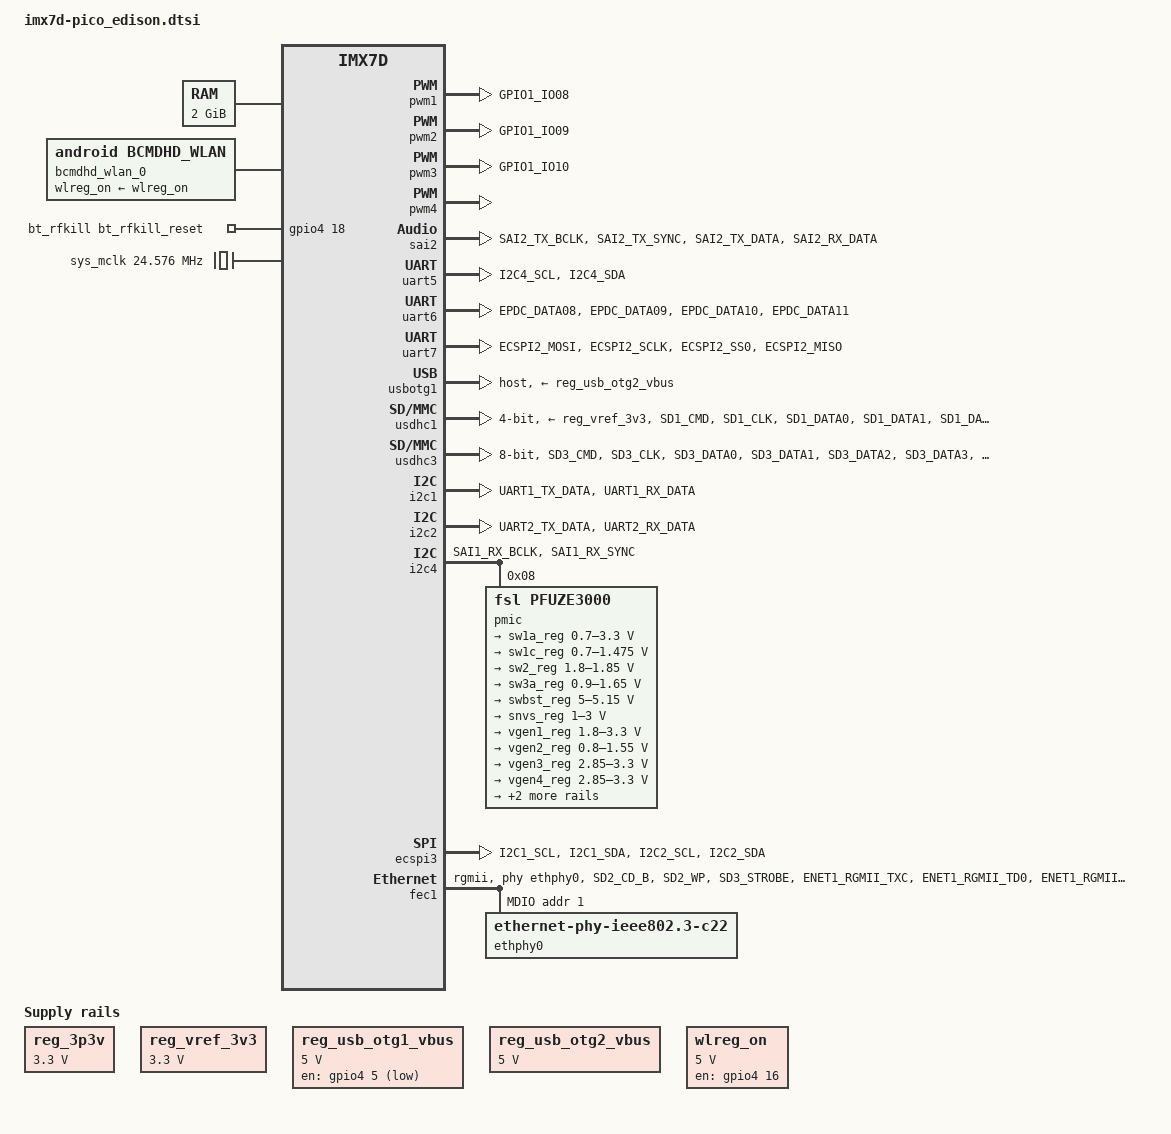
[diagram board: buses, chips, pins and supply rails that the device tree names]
/*
 * Copyright 2016 Technexion Ltd.
 *
 * Author: Alvin Chen <alvin.chen@technexion.com>
 *
 * This program is free software; you can redistribute it and/or modify
 * it under the terms of the GNU General Public License version 2 as
 * published by the Free Software Foundation.
 *
 */

#include <dt-bindings/input/input.h>
#include <dt-bindings/gpio/gpio.h>

/* GPIOs on PICO connector */
#define GPIO_P24 gpio2 0
#define GPIO_P25 gpio2 6
#define GPIO_P26 gpio2 1
#define GPIO_P28 gpio2 2
#define GPIO_P30 gpio2 3
#define GPIO_P48 gpio2 7

#define PCA9535_INTERRUPT &pinctrl_pca9535_interrupt 
#define PICO_EXT_GPIO_IOMUX_EDISON &pinctrl_ext_gpio_edison

/* bus definitions */
#define I2C1 i2c1
#define I2C2 i2c2
#define I2C3 i2c4
#define ECSPI ecspi3

#define PCA9535_INT_GPIO gpio2 12

/ {
	memory {
		reg = <0x80000000 0x80000000>;
	};

	bcmdhd_wlan_0: bcmdhd_wlan@0 {
		compatible = "android,bcmdhd_wlan";
		pinctrl-names = "default";
		pinctrl-0 = <&pinctrl_wifi_ctrl>;
		status = "okay";
		wlreg_on-supply = <&wlreg_on>;
	};

	bt_rfkill {
		compatible = "net,rfkill-bcm43xx";
		pinctrl-names = "default";
		pinctrl-0 = <&pinctrl_bt_ctrl>;
		name = "bt_rfkill";
		type = <2>;     /* bluetooth */
		bt_rfkill_reset-gpios = <&gpio4 18 0>;
	};

	regulators {
		compatible = "simple-bus";
		#address-cells = <1>;
		#size-cells = <0>;

		reg_3p3v: 3p3v {
			compatible = "regulator-fixed";
			regulator-name = "3P3V";
			regulator-min-microvolt = <3300000>;
			regulator-max-microvolt = <3300000>;
			regulator-always-on;
		};

		reg_vref_3v3: regulator@6 {
			compatible = "regulator-fixed";
			regulator-name = "vref-3v3";
			regulator-min-microvolt = <3300000>;
			regulator-max-microvolt = <3300000>;
		};

		reg_usb_otg1_vbus: regulator@0 {
			compatible = "regulator-fixed";
			regulator-name = "usb_otg1_vbus";
			regulator-min-microvolt = <5000000>;
			regulator-max-microvolt = <5000000>;
			gpio = <&gpio4 5 1>;
			enable-active-low;
		};

		reg_usb_otg2_vbus: regulator@1 {
			compatible = "regulator-fixed";
			reg = <1>;
			regulator-name = "usb_otg2_vbus";
			regulator-min-microvolt = <5000000>;
			regulator-max-microvolt = <5000000>;
		};

		wlreg_on: fixedregulator@100 {
			compatible = "regulator-fixed";
			regulator-min-microvolt = <5000000>;
			regulator-max-microvolt = <5000000>;
			regulator-name = "wlreg_on";
			gpio = <&gpio4 16 GPIO_ACTIVE_HIGH>;
			enable-active-high;
		};
	};

	clocks {
		sys_mclk: clock {
			compatible = "fixed-clock";
			#clock-cells = <0>;
			clock-frequency = <24576000>;
		};
	};
};

&iomuxc {
	pinctrl-names = "default";
	pinctrl-0 = <&pinctrl_usbotg1_pwr>;
	imx7d-pico {
		pinctrl_ecspi3: ecspi3grp {
			fsl,pins = <
				MX7D_PAD_I2C1_SCL__ECSPI3_MISO	0x2
				MX7D_PAD_I2C1_SDA__ECSPI3_MOSI	0x2
				MX7D_PAD_I2C2_SCL__ECSPI3_SCLK	0x2
			>;
		};

		pinctrl_ecspi3_cs: ecspi3_cs_grp {
			fsl,pins = <
				MX7D_PAD_I2C2_SDA__GPIO4_IO11	0x80000000
			>;
		};

		pinctrl_enet1: enet1grp { /* REF CLK is set under LPSR pins */
			fsl,pins = <
				MX7D_PAD_SD2_CD_B__ENET1_MDIO			0x3
				MX7D_PAD_SD2_WP__ENET1_MDC			0x3
				MX7D_PAD_SD3_STROBE__GPIO6_IO10                 0x3  /* MDIO interrupt*/

				MX7D_PAD_ENET1_RGMII_TXC__ENET1_RGMII_TXC	0x1
				MX7D_PAD_ENET1_RGMII_TD0__ENET1_RGMII_TD0	0x1
				MX7D_PAD_ENET1_RGMII_TD1__ENET1_RGMII_TD1	0x1
				MX7D_PAD_ENET1_RGMII_TD2__ENET1_RGMII_TD2	0x1
				MX7D_PAD_ENET1_RGMII_TD3__ENET1_RGMII_TD3	0x1
				MX7D_PAD_ENET1_RGMII_TX_CTL__ENET1_RGMII_TX_CTL	0x1
				MX7D_PAD_ENET1_RGMII_RXC__ENET1_RGMII_RXC	0x1
				MX7D_PAD_ENET1_RGMII_RD0__ENET1_RGMII_RD0	0x1
				MX7D_PAD_ENET1_RGMII_RD1__ENET1_RGMII_RD1	0x1
				MX7D_PAD_ENET1_RGMII_RD2__ENET1_RGMII_RD2	0x1
				MX7D_PAD_ENET1_RGMII_RD3__ENET1_RGMII_RD3	0x1
				MX7D_PAD_ENET1_RGMII_RX_CTL__ENET1_RGMII_RX_CTL	0x1
				MX7D_PAD_SD3_RESET_B__GPIO6_IO11                0x1  /* Ethernet reset */
			>;
		};

		pinctrl_i2c1: i2c1grp {
			fsl,pins = <
				MX7D_PAD_UART1_TX_DATA__I2C1_SDA	0x4000007f
				MX7D_PAD_UART1_RX_DATA__I2C1_SCL	0x4000007f
			>;
		};

		pinctrl_i2c2: i2c2grp {
			fsl,pins = <
				MX7D_PAD_UART2_TX_DATA__I2C2_SDA	0x4000007f
				MX7D_PAD_UART2_RX_DATA__I2C2_SCL	0x4000007f
			>;
		};

		pinctrl_i2c4: i2c4grp {
			fsl,pins = <
				MX7D_PAD_SAI1_RX_BCLK__I2C4_SDA		0x4000007f
				MX7D_PAD_SAI1_RX_SYNC__I2C4_SCL		0x4000007f
			>;
		};

		pinctrl_lcdif_dat: lcdifdatgrp {
			fsl,pins = <
				MX7D_PAD_LCD_DATA00__LCD_DATA0	0x79
				MX7D_PAD_LCD_DATA01__LCD_DATA1	0x79
				MX7D_PAD_LCD_DATA02__LCD_DATA2	0x79
				MX7D_PAD_LCD_DATA03__LCD_DATA3	0x79
				MX7D_PAD_LCD_DATA04__LCD_DATA4	0x79
				MX7D_PAD_LCD_DATA05__LCD_DATA5	0x79
				MX7D_PAD_LCD_DATA06__LCD_DATA6	0x79
				MX7D_PAD_LCD_DATA07__LCD_DATA7	0x79
				MX7D_PAD_LCD_DATA08__LCD_DATA8	0x79
				MX7D_PAD_LCD_DATA09__LCD_DATA9	0x79
				MX7D_PAD_LCD_DATA10__LCD_DATA10	0x79
				MX7D_PAD_LCD_DATA11__LCD_DATA11	0x79
				MX7D_PAD_LCD_DATA12__LCD_DATA12	0x79
				MX7D_PAD_LCD_DATA13__LCD_DATA13	0x79
				MX7D_PAD_LCD_DATA14__LCD_DATA14	0x79
				MX7D_PAD_LCD_DATA15__LCD_DATA15	0x79
				MX7D_PAD_LCD_DATA16__LCD_DATA16	0x79
				MX7D_PAD_LCD_DATA17__LCD_DATA17	0x79
				MX7D_PAD_LCD_DATA18__LCD_DATA18	0x79
				MX7D_PAD_LCD_DATA19__LCD_DATA19	0x79
				MX7D_PAD_LCD_DATA20__LCD_DATA20	0x79
				MX7D_PAD_LCD_DATA21__LCD_DATA21	0x79
				MX7D_PAD_LCD_DATA22__LCD_DATA22	0x79
				MX7D_PAD_LCD_DATA23__LCD_DATA23	0x79
			>;
		};

		pinctrl_lcdif_ctrl: lcdifctrlgrp {
			fsl,pins = <
				MX7D_PAD_LCD_CLK__LCD_CLK	0x79
				MX7D_PAD_LCD_ENABLE__LCD_ENABLE	0x79
				MX7D_PAD_LCD_VSYNC__LCD_VSYNC	0x79
				MX7D_PAD_LCD_HSYNC__LCD_HSYNC	0x79
				MX7D_PAD_LCD_RESET__GPIO3_IO4	0x14
				//MX7D_PAD_LCD_RESET__LCD_RESET	0x79
			>;
		};

		pinctrl_sai1: sai1grp {
			fsl,pins = <
				MX7D_PAD_ENET1_RX_CLK__SAI1_TX_BCLK   0x1f
				MX7D_PAD_ENET1_CRS__SAI1_TX_SYNC   0x1f
				MX7D_PAD_ENET1_COL__SAI1_TX_DATA0   0x30
				MX7D_PAD_ENET1_TX_CLK__SAI1_RX_DATA0   0x1f
			>;
		};

		pinctrl_sai2: sai2grp {
			fsl,pins = <
				MX7D_PAD_SAI2_TX_BCLK__SAI2_TX_BCLK   0x1f
				MX7D_PAD_SAI2_TX_SYNC__SAI2_TX_SYNC   0x1f
				MX7D_PAD_SAI2_TX_DATA__SAI2_TX_DATA0   0x30
				MX7D_PAD_SAI2_RX_DATA__SAI2_RX_DATA0   0x1f
			>;
		};

		pinctrl_uart5: uart5grp {
			fsl,pins = <
				MX7D_PAD_I2C4_SCL__UART5_DCE_RX 0x79
				MX7D_PAD_I2C4_SDA__UART5_DCE_TX 0x79
			>;
		};

		pinctrl_uart6: uart6grp {
			fsl,pins = <
				MX7D_PAD_EPDC_DATA08__UART6_DCE_RX  0x79
				MX7D_PAD_EPDC_DATA09__UART6_DCE_TX  0x79
				MX7D_PAD_EPDC_DATA10__UART6_DCE_RTS 0x79
				MX7D_PAD_EPDC_DATA11__UART6_DCE_CTS 0x79
			>;
		};

		pinctrl_uart7: uart7grp {
			fsl,pins = <
				MX7D_PAD_ECSPI2_MOSI__UART7_DCE_TX  0x79
				MX7D_PAD_ECSPI2_SCLK__UART7_DCE_RX  0x79
				MX7D_PAD_ECSPI2_SS0__UART7_DCE_CTS 0x79
				MX7D_PAD_ECSPI2_MISO__UART7_DCE_RTS 0x79
			>;
		};

		pinctrl_usbotg1_pwr: usbotg_pwr {
			fsl,pins = <
				MX7D_PAD_UART3_TX_DATA__GPIO4_IO5	0x14
			>;
		};

		pinctrl_can_1: can-1 {
			fsl,pins = <
				MX7D_PAD_SAI1_RX_DATA__FLEXCAN1_RX	0x59
				MX7D_PAD_SAI1_TX_BCLK__FLEXCAN1_TX	0x59f
			>;
		};

		pinctrl_can_2: can-2 {
			fsl,pins = <
				MX7D_PAD_SAI1_TX_SYNC__FLEXCAN2_RX	0x59
				MX7D_PAD_SAI1_TX_DATA__FLEXCAN2_TX	0x59
			>;
		};

		pinctrl_usdhc1: usdhc1grp {
			fsl,pins = <
				MX7D_PAD_SD1_CMD__SD1_CMD		0x59
				MX7D_PAD_SD1_CLK__SD1_CLK		0x19
				MX7D_PAD_SD1_DATA0__SD1_DATA0		0x59
				MX7D_PAD_SD1_DATA1__SD1_DATA1		0x59
				MX7D_PAD_SD1_DATA2__SD1_DATA2		0x59
				MX7D_PAD_SD1_DATA3__SD1_DATA3		0x59
				MX7D_PAD_SD1_CD_B__GPIO5_IO0		0x15 /* baseboard sd cd pin */
			>;
		};

		pinctrl_usdhc1_100mhz: usdhc1grp_100mhz {
			fsl,pins = <
				MX7D_PAD_SD1_CMD__SD1_CMD		0x5a
				MX7D_PAD_SD1_CLK__SD1_CLK		0x1a
				MX7D_PAD_SD1_DATA0__SD1_DATA0		0x5a
				MX7D_PAD_SD1_DATA1__SD1_DATA1		0x5a
				MX7D_PAD_SD1_DATA2__SD1_DATA2		0x5a
				MX7D_PAD_SD1_DATA3__SD1_DATA3		0x5a
				MX7D_PAD_SD1_CD_B__GPIO5_IO0		0x15
			>;
		};

		pinctrl_usdhc1_200mhz: usdhc1grp_200mhz {
			fsl,pins = <
				MX7D_PAD_SD1_CMD__SD1_CMD		0x5b
				MX7D_PAD_SD1_CLK__SD1_CLK		0x1b
				MX7D_PAD_SD1_DATA0__SD1_DATA0		0x5b
				MX7D_PAD_SD1_DATA1__SD1_DATA1		0x5b
				MX7D_PAD_SD1_DATA2__SD1_DATA2		0x5b
				MX7D_PAD_SD1_DATA3__SD1_DATA3		0x5b
				MX7D_PAD_SD1_CD_B__GPIO5_IO0		0x15
			>;
		};

		pinctrl_usdhc2: usdhc2grp {
			fsl,pins = <
				MX7D_PAD_SD2_CMD__SD2_CMD       0x59
				MX7D_PAD_SD2_CLK__SD2_CLK       0x19
				MX7D_PAD_SD2_DATA0__SD2_DATA0   0x59
				MX7D_PAD_SD2_DATA1__SD2_DATA1   0x59
				MX7D_PAD_SD2_DATA2__SD2_DATA2   0x59
				MX7D_PAD_SD2_DATA3__SD2_DATA3   0x59
			>;
		};

		pinctrl_usdhc2_100mhz: usdhc2grp_100mhz {
			fsl,pins = <
				MX7D_PAD_SD2_CMD__SD2_CMD       0x5a
				MX7D_PAD_SD2_CLK__SD2_CLK       0x1a
				MX7D_PAD_SD2_DATA0__SD2_DATA0   0x5a
				MX7D_PAD_SD2_DATA1__SD2_DATA1   0x5a
				MX7D_PAD_SD2_DATA2__SD2_DATA2   0x5a
				MX7D_PAD_SD2_DATA3__SD2_DATA3   0x5a
			>;
		};

		pinctrl_usdhc2_200mhz: usdhc2grp_200mhz {
			fsl,pins = <
				MX7D_PAD_SD2_CMD__SD2_CMD       0x5b
				MX7D_PAD_SD2_CLK__SD2_CLK       0x1b
				MX7D_PAD_SD2_DATA0__SD2_DATA0   0x5b
				MX7D_PAD_SD2_DATA1__SD2_DATA1   0x5b
				MX7D_PAD_SD2_DATA2__SD2_DATA2   0x5b
				MX7D_PAD_SD2_DATA3__SD2_DATA3   0x5b
			>;
		};

		pinctrl_usdhc3: usdhc3grp {
			fsl,pins = <
				MX7D_PAD_SD3_CMD__SD3_CMD		0x59
				MX7D_PAD_SD3_CLK__SD3_CLK		0x19
				MX7D_PAD_SD3_DATA0__SD3_DATA0		0x59
				MX7D_PAD_SD3_DATA1__SD3_DATA1		0x59
				MX7D_PAD_SD3_DATA2__SD3_DATA2		0x59
				MX7D_PAD_SD3_DATA3__SD3_DATA3		0x59
				MX7D_PAD_SD3_DATA4__SD3_DATA4		0x59
				MX7D_PAD_SD3_DATA5__SD3_DATA5		0x59
				MX7D_PAD_SD3_DATA6__SD3_DATA6		0x59
				MX7D_PAD_SD3_DATA7__SD3_DATA7		0x59
				MX7D_PAD_GPIO1_IO14__GPIO1_IO14		0x15 /* cpu module sd cd pin */
			>;
		};

		pinctrl_pwm1: pwm1 {
			fsl,pins = <
				MX7D_PAD_GPIO1_IO08__PWM1_OUT   0x7f
			>;
		};

		pinctrl_pwm2: pwm2 {
			fsl,pins = <
				MX7D_PAD_GPIO1_IO09__PWM2_OUT   0x7f
			>;
		};

		pinctrl_pwm3: pwm3 {
			fsl,pins = <
				MX7D_PAD_GPIO1_IO10__PWM3_OUT   0x7f
			>;
		};

		pinctrl_backlight: backlight {
			fsl,pins = <
				MX7D_PAD_GPIO1_IO11__PWM4_OUT   0x0
			>;
		};

		pinctrl_wifi_ctrl: wifi_ctrlgrp {
			fsl,pins = <
				MX7D_PAD_ECSPI1_SCLK__GPIO4_IO16       0x59 /* wifi-reg-on */
				MX7D_PAD_ECSPI1_SS0__GPIO4_IO19        0x59 /* wifi-host-wake */
			>;
		};

		pinctrl_bt_ctrl: bt_ctrlgrp {
			fsl,pins = <
				MX7D_PAD_ECSPI1_MISO__GPIO4_IO18       0x55 /* bluetooth-reg-on */
				MX7D_PAD_ECSPI1_MOSI__GPIO4_IO17       0x55 /* bluetooth-wake */
				MX7D_PAD_SD2_RESET_B__GPIO5_IO11       0x55 /* bluetooth-host-wake */
			>;
		};

		pinctrl_ext_gpio_edison: ext_gpio_edison {
			fsl,pins = <
				MX7D_PAD_EPDC_DATA00__GPIO2_IO0		0x15 /* P24 */
				MX7D_PAD_EPDC_DATA06__GPIO2_IO6		0x15 /* P25 */
				MX7D_PAD_EPDC_DATA01__GPIO2_IO1		0x15 /* P26 */
				MX7D_PAD_EPDC_DATA02__GPIO2_IO2		0x15 /* P28 */
				MX7D_PAD_EPDC_DATA03__GPIO2_IO3		0x15 /* P30 */
				MX7D_PAD_EPDC_DATA07__GPIO2_IO7		0x15 /* P48 */
			>;
		};

		pinctrl_pca9535_interrupt: pca9535_interrupt {
			fsl,pins = <
				MX7D_PAD_EPDC_DATA12__GPIO2_IO12	0x15
			>;
		};
	};
};

&pwm1 {
	pinctrl-names = "default";
	pinctrl-0 = <&pinctrl_pwm1>;
	status = "okay";
};

&pwm2 {
	pinctrl-names = "default";
	pinctrl-0 = <&pinctrl_pwm2>;
	status = "okay";
};

&pwm3 {
	pinctrl-names = "default";
	pinctrl-0 = <&pinctrl_pwm3>;
	status = "okay";
};

&pwm4 { /* Backlight */
	status = "okay";
};

&sai1 {
	pinctrl-names = "default";
	pinctrl-0 = <&pinctrl_sai1>;
	assigned-clocks = <&clks IMX7D_SAI1_ROOT_SRC>,
			  <&clks IMX7D_SAI1_ROOT_CLK>;
	assigned-clock-parents = <&clks IMX7D_PLL_AUDIO_POST_DIV>;
	assigned-clock-rates = <0>, <24576000>;
	status = "disabled";
};

&sai2 {
	pinctrl-names = "default";
	pinctrl-0 = <&pinctrl_sai2>;
	assigned-clocks = <&clks IMX7D_SAI2_ROOT_SRC>,
			  <&clks IMX7D_SAI2_ROOT_CLK>;
	assigned-clock-parents = <&clks IMX7D_PLL_AUDIO_POST_DIV>;
	assigned-clock-rates = <0>, <24576000>;
	status = "okay";
};

&sdma {
	status = "okay";
};

&uart5 {
	pinctrl-names = "default";
	pinctrl-0 = <&pinctrl_uart5>;
	assigned-clocks = <&clks IMX7D_UART5_ROOT_SRC>;
	assigned-clock-parents = <&clks IMX7D_OSC_24M_CLK>;
	status = "okay";
};

&uart6 {
	pinctrl-names = "default";
	pinctrl-0 = <&pinctrl_uart6>;
	assigned-clocks = <&clks IMX7D_UART6_ROOT_SRC>;
	assigned-clock-parents = <&clks IMX7D_OSC_24M_CLK>;
	fsl,uart-has-rtscts;
	status = "okay";
};

&uart7 { /* Bluetooth */
	pinctrl-names = "default";
	pinctrl-0 = <&pinctrl_uart7>;
	assigned-clocks = <&clks IMX7D_UART7_ROOT_SRC>;
	assigned-clock-parents = <&clks IMX7D_PLL_SYS_MAIN_240M_CLK>;
	fsl,uart-has-rtscts;
	status = "okay";
};

&usbotg1 {
	vbus-supply = <&reg_usb_otg2_vbus>;
	dr_mode = "host";
	status = "okay";
};

&usdhc1 {
	pinctrl-names = "default", "state_100mhz", "state_200mhz";
	pinctrl-0 = <&pinctrl_usdhc1>;
	pinctrl-1 = <&pinctrl_usdhc1_100mhz>;
	pinctrl-2 = <&pinctrl_usdhc1_200mhz>;
	cd-gpios = <&gpio5 0 GPIO_ACTIVE_LOW>;
	bus-width = <4>;
	tuning-step = <2>;
	vmmc-supply = <&reg_vref_3v3>;
	enable-sdio-wakeup;
	no-1-8-v;
	keep-power-in-suspend;
	status = "okay";
};

&usdhc2 {
	pinctrl-names = "default", "state_100mhz", "state_200mhz";
	pinctrl-0 = <&pinctrl_usdhc2>;
	bus-width = <4>;
	vmmc-supply = <&reg_3p3v>;
	no-1-8-v;
	keep-power-in-suspend;
	non-removable;
	cd-post;
	pm-ignore-notify;
	wifi-host;
	status = "disable";
};

&usdhc3 { /* Module eMMC or SD card */
	pinctrl-names = "default";
	pinctrl-0 = <&pinctrl_usdhc3>;
	cd-gpios = <&gpio1 14 GPIO_ACTIVE_LOW>;
	assigned-clocks = <&clks IMX7D_USDHC3_ROOT_CLK>;
	assigned-clock-rates = <400000000>;
	bus-width = <8>;
	status = "okay";
};

&wdog1 {
	pinctrl-names = "default";
	pinctrl-0 = <&pinctrl_wdog>;
	fsl,wdog_b;
};

&i2c1 {
	pinctrl-names = "default";
	pinctrl-0 = <&pinctrl_i2c1>;
	status = "okay";
};

&i2c2 {
	pinctrl-names = "default";
	pinctrl-0 = <&pinctrl_i2c2>;
	status = "okay";
};

&i2c4 {
	pinctrl-names = "default";
	pinctrl-0 = <&pinctrl_i2c4>;
	status = "okay";

	pmic: pfuze3000@08 {
		compatible = "fsl,pfuze3000";
		reg = <0x08>;
		fsl,lpsr-mode;

		regulators {
			sw1a_reg: sw1a {
				regulator-min-microvolt = <700000>;
				regulator-max-microvolt = <3300000>;
				regulator-boot-on;
				regulator-always-on;
				regulator-ramp-delay = <6250>;
			};
			/* use sw1c_reg to align with pfuze100/pfuze200 */
			sw1c_reg: sw1b {
				regulator-min-microvolt = <700000>;
				regulator-max-microvolt = <1475000>;
				regulator-boot-on;
				regulator-always-on;
				regulator-ramp-delay = <6250>;
			};

			sw2_reg: sw2 {
				regulator-min-microvolt = <1800000>;
				regulator-max-microvolt = <1850000>;
				regulator-boot-on;
				regulator-always-on;
			};

			sw3a_reg: sw3 {
				regulator-min-microvolt = <900000>;
				regulator-max-microvolt = <1650000>;
				regulator-boot-on;
				regulator-always-on;
			};

			swbst_reg: swbst {
				regulator-min-microvolt = <5000000>;
				regulator-max-microvolt = <5150000>;
			};

			snvs_reg: vsnvs {
				regulator-min-microvolt = <1000000>;
				regulator-max-microvolt = <3000000>;
				regulator-boot-on;
				regulator-always-on;
			};

			vref_reg: vrefddr {
				regulator-boot-on;
				regulator-always-on;
			};

			vgen1_reg: vldo1 {
				regulator-min-microvolt = <1800000>;
				regulator-max-microvolt = <3300000>;
				regulator-always-on;
			};

			vgen2_reg: vldo2 {
				regulator-min-microvolt = <800000>;
				regulator-max-microvolt = <1550000>;
			};

			vgen3_reg: vccsd {
				regulator-min-microvolt = <2850000>;
				regulator-max-microvolt = <3300000>;
				regulator-always-on;
			};

			vgen4_reg: v33 {
				regulator-min-microvolt = <2850000>;
				regulator-max-microvolt = <3300000>;
				regulator-always-on;
			};

			vgen5_reg: vldo3 {
				regulator-min-microvolt = <1800000>;
				regulator-max-microvolt = <3300000>;
				regulator-always-on;
			};

			vgen6_reg: vldo4 {
				regulator-min-microvolt = <1800000>;
				regulator-max-microvolt = <3300000>;
				regulator-always-on;
			};
		};
	};
};

&ecspi3 {
	fsl,spi-num-chipselects = <2>;
	cs-gpios = <&gpio4 11 GPIO_ACTIVE_LOW>;
	pinctrl-names = "default";
	pinctrl-0 = <&pinctrl_ecspi3 &pinctrl_ecspi3_cs>;
	status = "okay";
};

&cpu0 {
	arm-supply = <&sw1a_reg>;
};

&iomuxc_lpsr {
	pinctrl-names = "default";
	pinctrl-0 = <&pinctrl_hog_2 &pinctrl_enet_refclk &pinctrl_lcd_vdden>;

	imx7d-pico-miscpins {
		pinctrl_enet_refclk: enet_refclk {
			fsl,pins = <
				MX7D_PAD_GPIO1_IO01__CCM_ENET_REF_CLK3		0x1  
			>;
		};

		pinctrl_lcd_vdden: lcd_vdden {
			fsl,pins = <
				MX7D_PAD_GPIO1_IO06__GPIO1_IO6		0x14
			>;
		};

		pinctrl_wdog: wdoggrp {
			fsl,pins = <
				MX7D_PAD_GPIO1_IO00__WDOD1_WDOG_B 0x74
			>;
		};

		pinctrl_mipi_csi: mipicsigrp-1 {
			fsl,pins = <
				MX7D_PAD_GPIO1_IO04__GPIO1_IO4 0x15 /* mipi csi powerdown */
				MX7D_PAD_GPIO1_IO05__GPIO1_IO5 0x15 /* mipi csi reset */
				MX7D_PAD_GPIO1_IO02__CCM_CLKO1	 0x7d /* mipi csi main clock */
			>;
		};

		pinctrl_hog_2: hoggrp-2 {
			fsl,pins = <
				MX7D_PAD_GPIO1_IO03__CCM_CLKO2	 0x7d /* wifi LPO 32K Hz clock */
				MX7D_PAD_GPIO1_IO07__GPIO1_IO7	 0x59 /* pmic sd_vel pin*/
			>;
		};
	};
};

&fec1 {
	pinctrl-names = "default";
	pinctrl-0 = <&pinctrl_enet1>;
	phy-mode = "rgmii";
	phy-handle = <&ethphy0>;
	phy-reset-gpios = <&gpio6 11 0>;
	status = "okay";

	mdio {
		#address-cells = <1>;
		#size-cells = <0>;

		ethphy0: ethernet-phy@1 {
			compatible = "ethernet-phy-ieee802.3-c22";
			reg = <1>;
			status = "okay";
		};
	};
};
